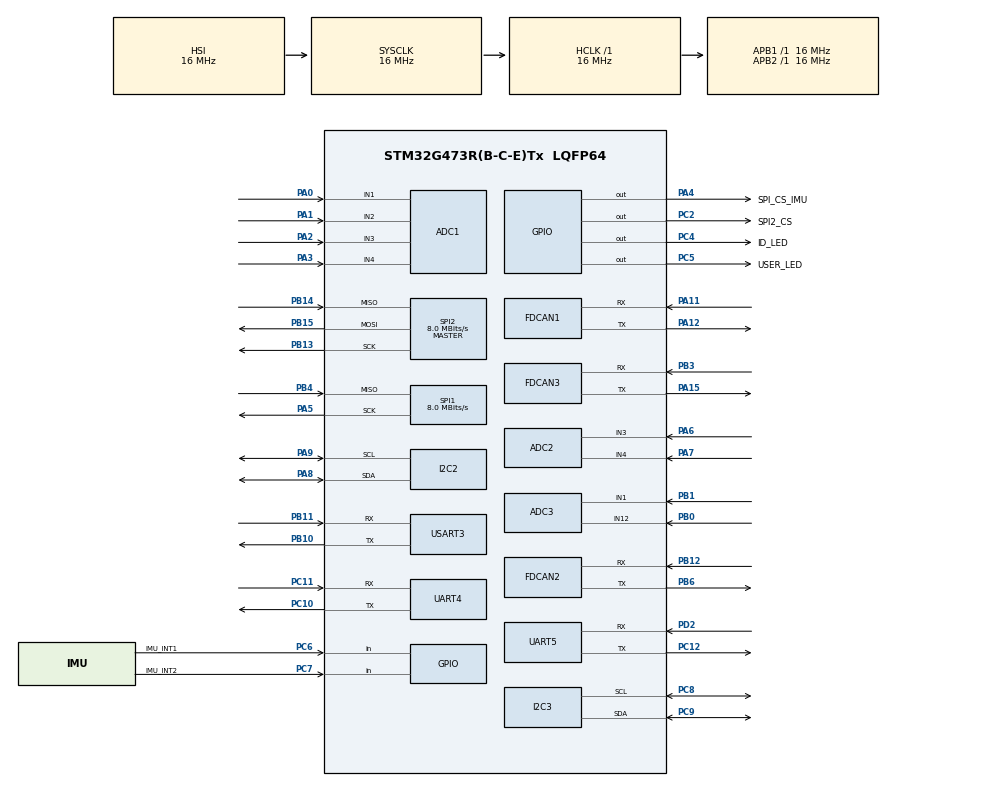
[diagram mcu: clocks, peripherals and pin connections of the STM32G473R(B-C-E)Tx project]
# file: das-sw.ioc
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ADC1.Channel-0\#ChannelRegularConversion=ADC_CHANNEL_1
ADC1.Channel-1\#ChannelRegularConversion=ADC_CHANNEL_1
ADC1.Channel-2\#ChannelRegularConversion=ADC_CHANNEL_1
ADC1.Channel-3\#ChannelRegularConversion=ADC_CHANNEL_1
ADC1.Channel-4\#ChannelRegularConversion=ADC_CHANNEL_1
ADC1.ContinuousConvMode=ENABLE
ADC1.DMAContinuousRequests=ENABLE
ADC1.EOCSelection=ADC_EOC_SEQ_CONV
ADC1.NbrOfConversion=5
ADC1.NbrOfConversionFlag=1
ADC1.OffsetNumber-0\#ChannelRegularConversion=ADC_OFFSET_NONE
ADC1.OffsetNumber-1\#ChannelRegularConversion=ADC_OFFSET_NONE
ADC1.OffsetNumber-2\#ChannelRegularConversion=ADC_OFFSET_NONE
ADC1.OffsetNumber-3\#ChannelRegularConversion=ADC_OFFSET_NONE
ADC1.OffsetNumber-4\#ChannelRegularConversion=ADC_OFFSET_NONE
ADC1.Overrun=ADC_OVR_DATA_OVERWRITTEN
ADC1.Rank-0\#ChannelRegularConversion=1
ADC1.Rank-1\#ChannelRegularConversion=2
ADC1.Rank-2\#ChannelRegularConversion=3
ADC1.Rank-3\#ChannelRegularConversion=4
ADC1.Rank-4\#ChannelRegularConversion=5
ADC1.SamplingTime-0\#ChannelRegularConversion=ADC_SAMPLETIME_2CYCLES_5
ADC1.SamplingTime-1\#ChannelRegularConversion=ADC_SAMPLETIME_2CYCLES_5
ADC1.SamplingTime-2\#ChannelRegularConversion=ADC_SAMPLETIME_2CYCLES_5
ADC1.SamplingTime-3\#ChannelRegularConversion=ADC_SAMPLETIME_2CYCLES_5
ADC1.SamplingTime-4\#ChannelRegularConversion=ADC_SAMPLETIME_2CYCLES_5
ADC1.master=1
ADC2.Channel-2\#ChannelRegularConversion=ADC_CHANNEL_3
ADC2.Channel-3\#ChannelRegularConversion=ADC_CHANNEL_3
ADC2.ContinuousConvMode=ENABLE
ADC2.DMAContinuousRequests=ENABLE
ADC2.EOCSelection=ADC_EOC_SEQ_CONV
ADC2.NbrOfConversion=2
ADC2.NbrOfConversionFlag=1
ADC2.OffsetNumber-2\#ChannelRegularConversion=ADC_OFFSET_NONE
ADC2.OffsetNumber-3\#ChannelRegularConversion=ADC_OFFSET_NONE
ADC2.Overrun=ADC_OVR_DATA_OVERWRITTEN
ADC2.OversamplingMode=DISABLE
ADC2.Rank-2\#ChannelRegularConversion=1
ADC2.Rank-3\#ChannelRegularConversion=2
ADC2.SamplingTime-2\#ChannelRegularConversion=ADC_SAMPLETIME_2CYCLES_5
ADC2.SamplingTime-3\#ChannelRegularConversion=ADC_SAMPLETIME_2CYCLES_5
ADC3.Channel-0\#ChannelRegularConversion=ADC_CHANNEL_1
ADC3.NbrOfConversionFlag=1
ADC3.OffsetNumber-0\#ChannelRegularConversion=ADC_OFFSET_NONE
ADC3.Rank-0\#ChannelRegularConversion=1
ADC3.SamplingTime-0\#ChannelRegularConversion=ADC_SAMPLETIME_2CYCLES_5
ADC3.master=1
Dma.ADC1.0.Direction=DMA_PERIPH_TO_MEMORY
Dma.ADC1.0.EventEnable=DISABLE
Dma.ADC1.0.Instance=DMA1_Channel1
Dma.ADC1.0.MemDataAlignment=DMA_MDATAALIGN_HALFWORD
Dma.ADC1.0.MemInc=DMA_MINC_ENABLE
Dma.ADC1.0.Mode=DMA_CIRCULAR
Dma.ADC1.0.PeriphDataAlignment=DMA_PDATAALIGN_HALFWORD
Dma.ADC1.0.PeriphInc=DMA_PINC_DISABLE
Dma.ADC1.0.Polarity=HAL_DMAMUX_REQ_GEN_RISING
Dma.ADC1.0.Priority=DMA_PRIORITY_LOW
Dma.ADC1.0.RequestNumber=1
Dma.ADC1.0.SignalID=NONE
Dma.ADC1.0.SyncEnable=DISABLE
Dma.ADC1.0.SyncPolarity=HAL_DMAMUX_SYNC_NO_EVENT
Dma.ADC1.0.SyncRequestNumber=1
Dma.ADC1.0.SyncSignalID=NONE
Dma.ADC2.1.Direction=DMA_PERIPH_TO_MEMORY
Dma.ADC2.1.EventEnable=DISABLE
Dma.ADC2.1.Instance=DMA1_Channel2
Dma.ADC2.1.MemDataAlignment=DMA_MDATAALIGN_HALFWORD
Dma.ADC2.1.MemInc=DMA_MINC_ENABLE
Dma.ADC2.1.Mode=DMA_CIRCULAR
Dma.ADC2.1.PeriphDataAlignment=DMA_PDATAALIGN_HALFWORD
Dma.ADC2.1.PeriphInc=DMA_PINC_DISABLE
Dma.ADC2.1.Polarity=HAL_DMAMUX_REQ_GEN_RISING
Dma.ADC2.1.Priority=DMA_PRIORITY_LOW
Dma.ADC2.1.RequestNumber=1
Dma.ADC2.1.SignalID=NONE
Dma.ADC2.1.SyncEnable=DISABLE
Dma.ADC2.1.SyncPolarity=HAL_DMAMUX_SYNC_NO_EVENT
Dma.ADC2.1.SyncRequestNumber=1
Dma.ADC2.1.SyncSignalID=NONE
Dma.Request0=ADC1
Dma.Request1=ADC2
FDCAN1.CalculateBaudRateNominal=333333
FDCAN1.CalculateTimeBitNominal=3000
FDCAN1.CalculateTimeQuantumNominal=1000.0
FDCAN2.CalculateBaudRateNominal=333333
FDCAN2.CalculateTimeBitNominal=3000
FDCAN2.CalculateTimeQuantumNominal=1000.0
FDCAN3.CalculateBaudRateNominal=333333
FDCAN3.CalculateTimeBitNominal=3000
FDCAN3.CalculateTimeQuantumNominal=1000.0
I2C2.Timing=0x00503D58
I2C3.Timing=0x00503D58
Mcu.Family=STM32G4
Mcu.Name=STM32G473R(B-C-E)Tx
Mcu.Package=LQFP64
NVIC.DMA1_Channel1_IRQn=true\:0\:0\:false\:false\:true\:false\:true\:true
NVIC.DMA1_Channel2_IRQn=true\:0\:0\:false\:false\:true\:false\:true\:true
NVIC.FDCAN1_IT0_IRQn=true\:0\:0\:false\:false\:true\:true\:true\:true
NVIC.FDCAN2_IT0_IRQn=true\:0\:0\:false\:false\:true\:true\:true\:true
NVIC.FDCAN3_IT0_IRQn=true\:0\:0\:false\:false\:true\:true\:true\:true
NVIC.PriorityGroup=NVIC_PRIORITYGROUP_4
PA0.Mode=IN1-Single-Ended
PA0.Signal=ADC1_IN1
PA1.Mode=IN2-Single-Ended
PA1.Signal=ADC1_IN2
PA11.Mode=FDCAN_Activate
PA11.Signal=FDCAN1_RX
PA12.Mode=FDCAN_Activate
PA12.Signal=FDCAN1_TX
PA13.Mode=Serial_Wire
PA13.Signal=SYS_JTMS-SWDIO
PA14.Mode=Serial_Wire
PA14.Signal=SYS_JTCK-SWCLK
PA15.Mode=FDCAN_Activate
PA15.Signal=FDCAN3_TX
PA2.Mode=IN3-Single-Ended
PA2.Signal=ADC1_IN3
PA3.Mode=IN4-Single-Ended
PA3.Signal=ADC1_IN4
PA4.GPIO_Label=SPI_CS_IMU
PA4.Signal=GPIO_Output
PA5.Mode=RX_Only_Simplex_Unidirect_Master
PA5.Signal=SPI1_SCK
PA6.Signal=SharedAnalog_PA6
PA7.Mode=IN4-Single-Ended
PA7.Signal=ADC2_IN4
PA8.Mode=I2C
PA8.Signal=I2C2_SDA
PA9.Mode=I2C
PA9.Signal=I2C2_SCL
PB0.Mode=IN12-Single-Ended
PB0.Signal=ADC3_IN12
PB1.Mode=IN1-Single-Ended
PB1.Signal=ADC3_IN1
PB10.Mode=Asynchronous
PB10.Signal=USART3_TX
PB11.Mode=Asynchronous
PB11.Signal=USART3_RX
PB12.Mode=FDCAN_Activate
PB12.Signal=FDCAN2_RX
PB13.Mode=Full_Duplex_Master
PB13.Signal=SPI2_SCK
PB14.Mode=Full_Duplex_Master
PB14.Signal=SPI2_MISO
PB15.Mode=Full_Duplex_Master
PB15.Signal=SPI2_MOSI
PB2.Signal=ADC2_IN12
PB3.Mode=FDCAN_Activate
PB3.Signal=FDCAN3_RX
PB4.Mode=RX_Only_Simplex_Unidirect_Master
PB4.Signal=SPI1_MISO
PB6.Mode=FDCAN_Activate
PB6.Signal=FDCAN2_TX
PC0.Signal=ADC1_IN6
PC1.Signal=ADC2_IN7
PC10.Mode=Asynchronous
PC10.Signal=UART4_TX
PC11.Mode=Asynchronous
PC11.Signal=UART4_RX
PC12.Mode=Asynchronous
PC12.Signal=UART5_TX
PC2.GPIO_Label=SPI2_CS
PC2.Signal=GPIO_Output
PC4.GPIO_Label=ID_LED
PC4.Signal=GPIO_Output
PC5.GPIO_Label=USER_LED
PC5.Signal=GPIO_Output
PC6.GPIO_Label=IMU_INT1
PC6.Signal=GPIO_Input
PC7.GPIO_Label=IMU_INT2
PC7.Signal=GPIO_Input
PC8.Mode=I2C
PC8.Signal=I2C3_SCL
PC9.Mode=I2C
PC9.Signal=I2C3_SDA
PD2.Mode=Asynchronous
PD2.Signal=UART5_RX
PF0-OSC_IN.Mode=HSE-External-Oscillator
PF0-OSC_IN.Signal=RCC_OSC_IN
PF1-OSC_OUT.Mode=HSE-External-Oscillator
PF1-OSC_OUT.Signal=RCC_OSC_OUT
ProjectManager.HeapSize=0x200
ProjectManager.StackSize=0x400
ProjectManager.TargetToolchain=Makefile
RCC.AHBFreq_Value=16000000
RCC.APB1Freq_Value=16000000
RCC.APB1TimFreq_Value=16000000
RCC.APB2Freq_Value=16000000
RCC.APB2TimFreq_Value=16000000
RCC.CortexFreq_Value=16000000
RCC.EXTERNAL_CLOCK_VALUE=12288000
RCC.HCLKFreq_Value=16000000
RCC.HSE_VALUE=8000000
RCC.HSI48_VALUE=48000000
RCC.HSI_VALUE=16000000
RCC.LSE_VALUE=32768
RCC.SYSCLKFreq_VALUE=16000000
RCC.USBFreq_Value=64000000
RCC.VCOOutputFreq_Value=128000000
SH.SharedAnalog_PA6.0=DAC2_OUT1
SH.SharedAnalog_PA6.1=ADC2_IN3,IN3-Single-Ended
SPI1.BaudRatePrescaler=SPI_BAUDRATEPRESCALER_2
SPI1.CalculateBaudRate=8.0 MBits/s
SPI1.Direction=SPI_DIRECTION_2LINES_RXONLY
SPI1.Mode=SPI_MODE_MASTER
SPI1.VirtualType=VM_MASTER
SPI2.CalculateBaudRate=8.0 MBits/s
SPI2.Direction=SPI_DIRECTION_2LINES
SPI2.Mode=SPI_MODE_MASTER
SPI2.VirtualType=VM_MASTER
TIM1.PeriodNoDither=1000-1
TIM1.Prescaler=16-1
USART3.VirtualMode-Asynchronous=VM_ASYNC
VP_SYS_VS_DBSignals.Mode=DisableDeadBatterySignals
VP_TIM1_VS_ClockSourceINT.Mode=Internal
board=custom

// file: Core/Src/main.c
/* USER CODE BEGIN Header */
/**
  ******************************************************************************
  * @file           : main.c
  * @brief          : Main program body
  ******************************************************************************
  * @attention
  *
  * Copyright (c) 2026 STMicroelectronics.
  * All rights reserved.
  *
  * This software is licensed under terms that can be found in the LICENSE file
  * in the root directory of this software component.
  * If no LICENSE file comes with this software, it is provided AS-IS.
  *
  ******************************************************************************
  */
/* USER CODE END Header */
#include "main.h"
#include "adc.h"
#include "dma.h"
#include "fdcan.h"
#include "i2c.h"
#include "spi.h"
#include "tim.h"
#include "usart.h"
#include "gpio.h"

/* USER CODE BEGIN Includes */
#include "fsm.h"
#include "potentiometer.h"
#include "feedback.h"
#include "can-communication-router-api.h"
/* USER CODE END Includes */

void SystemClock_Config(void);

int main(void) {

    /* MCU Configuration--------------------------------------------------------*/

    /* Reset of all peripherals, Initializes the Flash interface and the Systick. */
    HAL_Init();

    /* Configure the system clock */
    SystemClock_Config();

    /* Initialize all configured peripherals */
    MX_GPIO_Init();
    MX_DMA_Init();
    MX_ADC1_Init();
    MX_ADC2_Init();
    MX_ADC3_Init();
    MX_FDCAN1_Init();
    MX_FDCAN2_Init();
    MX_FDCAN3_Init();
    MX_I2C2_Init();
    MX_I2C3_Init();
    MX_SPI1_Init();
    MX_SPI2_Init();
    MX_UART4_Init();
    MX_UART5_Init();
    MX_USART3_UART_Init();
    MX_TIM1_Init();
    /* USER CODE BEGIN 2 */
    struct CanCommunicationNetworkConfig can_configs[CAN_COMMUNICATION_NETWORK_COUNT] = {
        [CAN_COMMUNICATION_NETWORK_PRIMARY] = {
                                               .send = fdcan_send_primary,
                                               .on_receive = can_communication_router_api_receive_primary,
                                               .cs_enter = __disable_irq,
                                               .cs_exit = __enable_irq,
                                               },
        [CAN_COMMUNICATION_NETWORK_SECONDARY] = {
                                               .send = fdcan_send_secondary,
                                               .on_receive = can_communication_router_api_receive_secondary,
                                               .cs_enter = __disable_irq,
                                               .cs_exit = __enable_irq,
                                               },
        [CAN_COMMUNICATION_NETWORK_DAS] = {
                                               .send = fdcan_send_private,
                                               .on_receive = can_communication_router_api_receive_private,
                                               .cs_enter = __disable_irq,
                                               .cs_exit = __enable_irq,
                                               },
    };

    fsm_state_t current_state = fsm_run_state(FSM_STATE_INIT, &can_configs);

    if (adc_start_dma_feedback() == FEEDBACK_RC_ERROR) {
        current_state = FSM_STATE_ERROR;
    } else if (adc_start_dma_potentiometer() == POTENTIOMETER_RC_ERROR) {
        current_state = FSM_STATE_ERROR;
    }
    /* USER CODE END 2 */

    /* Infinite loop */
    /* USER CODE BEGIN WHILE */
    while (1) {
        current_state = fsm_run_state(current_state, NULL);
        /* USER CODE END WHILE */

    }
}

void SystemClock_Config(void) {
    RCC_OscInitTypeDef RCC_OscInitStruct = { 0 };
    RCC_ClkInitTypeDef RCC_ClkInitStruct = { 0 };

    /** Configure the main internal regulator output voltage
  */
    HAL_PWREx_ControlVoltageScaling(PWR_REGULATOR_VOLTAGE_SCALE1);

    /** Initializes the RCC Oscillators according to the specified parameters
  * in the RCC_OscInitTypeDef structure.
  */
    RCC_OscInitStruct.OscillatorType = RCC_OSCILLATORTYPE_HSI;
    RCC_OscInitStruct.HSIState = RCC_HSI_ON;
    RCC_OscInitStruct.HSICalibrationValue = RCC_HSICALIBRATION_DEFAULT;
    RCC_OscInitStruct.PLL.PLLState = RCC_PLL_NONE;
    if (HAL_RCC_OscConfig(&RCC_OscInitStruct) != HAL_OK) {
        Error_Handler();
    }

    /** Initializes the CPU, AHB and APB buses clocks
  */
    RCC_ClkInitStruct.ClockType = RCC_CLOCKTYPE_HCLK | RCC_CLOCKTYPE_SYSCLK | RCC_CLOCKTYPE_PCLK1 | RCC_CLOCKTYPE_PCLK2;
    RCC_ClkInitStruct.SYSCLKSource = RCC_SYSCLKSOURCE_HSI;
    RCC_ClkInitStruct.AHBCLKDivider = RCC_SYSCLK_DIV1;
    RCC_ClkInitStruct.APB1CLKDivider = RCC_HCLK_DIV1;
    RCC_ClkInitStruct.APB2CLKDivider = RCC_HCLK_DIV1;

    if (HAL_RCC_ClockConfig(&RCC_ClkInitStruct, FLASH_LATENCY_0) != HAL_OK) {
        Error_Handler();
    }
}

void Error_Handler(void) {
    __disable_irq();
    while (1) {
    }
}
